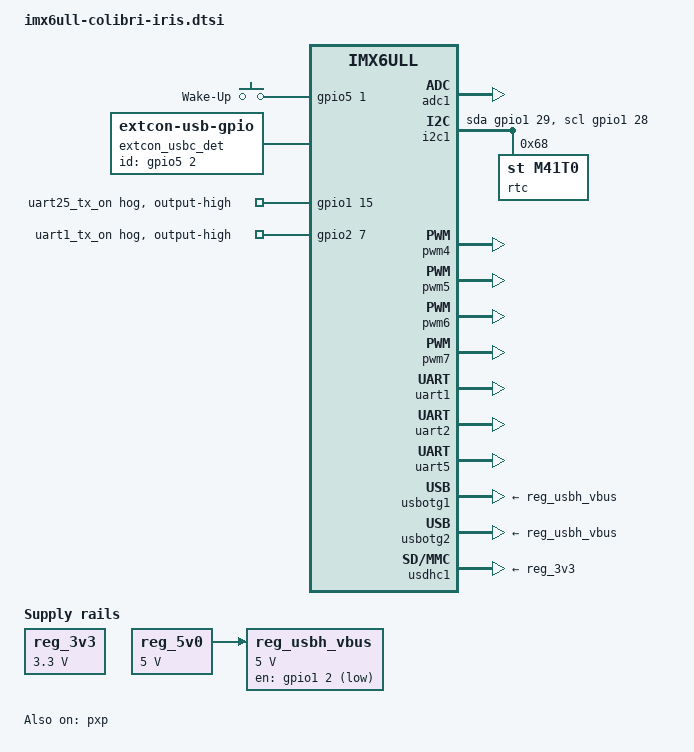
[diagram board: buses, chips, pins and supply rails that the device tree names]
// SPDX-License-Identifier: GPL-2.0+ OR X11
/*
 * Copyright 2018-2019 Toradex
 */

#include <dt-bindings/input/input.h>
#include <dt-bindings/pwm/pwm.h>

/ {
	chosen {
		bootargs = "console=ttymxc0,115200";
	};

	gpio-keys {
		compatible = "gpio-keys";
		pinctrl-names = "default";
		pinctrl-0 = <&pinctrl_snvs_gpiokeys>;

		power {
			label = "Wake-Up";
			gpios = <&gpio5 1 GPIO_ACTIVE_HIGH>;
			linux,code = <KEY_WAKEUP>;
			debounce-interval = <10>;
			gpio-key,wakeup;
		};
	};

	extcon_usbc_det: usbc_det {
		compatible = "linux,extcon-usb-gpio";
		debounce = <25>;
		id-gpio = <&gpio5 2 GPIO_ACTIVE_HIGH>;
		pinctrl-names = "default";
		pinctrl-0 = <&pinctrl_snvs_usbc_det>;
	};

	reg_3v3: regulator-3v3 {
		compatible = "regulator-fixed";
		regulator-name = "3.3V";
		regulator-min-microvolt = <3300000>;
		regulator-max-microvolt = <3300000>;
		regulator-always-on;
	};

	reg_5v0: regulator-5v0 {
		compatible = "regulator-fixed";
		regulator-name = "5V";
		regulator-min-microvolt = <5000000>;
		regulator-max-microvolt = <5000000>;
	};

	reg_usbh_vbus: regulator-usbh-vbus {
		compatible = "regulator-fixed";
		pinctrl-names = "default";
		pinctrl-0 = <&pinctrl_usbh_reg>;
		regulator-name = "VCC_USB[1-4]";
		regulator-min-microvolt = <5000000>;
		regulator-max-microvolt = <5000000>;
		gpio = <&gpio1 2 GPIO_ACTIVE_LOW>;
		vin-supply = <&reg_5v0>;
	};
};

&adc1 {
	status = "okay";
};

&pxp {
	status = "okay";
};

&i2c1 {
	pinctrl-names = "default", "gpio";
	pinctrl-0 = <&pinctrl_i2c1>;
	pinctrl-1 = <&pinctrl_i2c1_gpio>;
	sda-gpios = <&gpio1 29 (GPIO_ACTIVE_HIGH | GPIO_OPEN_DRAIN)>;
	scl-gpios = <&gpio1 28 (GPIO_ACTIVE_HIGH | GPIO_OPEN_DRAIN)>;
	status = "okay";

	/* M41T0M6 real time clock on carrier board */
	rtc: m41t0m6@68 {
		compatible = "st,m41t0";
		reg = <0x68>;
	};
};

/* Atmel TS adapter */
&atmel_mxt_ts {
	pinctrl-0 = <&pinctrl_atmel_adap>;
	interrupt-parent = <&gpio4>;
	interrupts = <16 IRQ_TYPE_EDGE_FALLING>;   /* SODIMM 28, INT */
	reset-gpios = <&gpio2 5 GPIO_ACTIVE_HIGH>; /* SODIMM 30, RST */
	status = "disabled";
};

/* PWM <A> */
&pwm4 {
	status = "okay";
};

/*
 * the PCAPs use SODIMM 28/30, also used for PWM<B>, PWM<C>, aka pwm5,
 * pwm6. so if you enable one of the PCAP controllers disable the pwms
 */

/* PWM <B> */
&pwm5 {
	status = "okay";
};

/* PWM <C> */
&pwm6 {
	status = "okay";
};

/* PWM <D> */
&pwm7 {
	status = "okay";
};

/* Colibri UART_A */
&uart1 {
	status = "okay";
};

/* Colibri UART_B */
&uart2 {
	status = "okay";
};

/* Colibri UART_C */
&uart5 {
	status = "okay";
};

&usbotg1 {
	extcon = <&extcon_usbc_det &extcon_usbc_det>;
	vbus-supply = <&reg_usbh_vbus>;
	status = "okay";
};

&usbotg2 {
	vbus-supply = <&reg_usbh_vbus>;
	status = "okay";
};

&usdhc1 {
	vmmc-supply = <&reg_3v3>;
	status = "okay";
};

&gpio1 {
	/*
	 * uart25_tx_on turns the UART transceiver on. If one wants to turn the
	 * transceiver off, that property has to be deleted and the gpio handled
	 * in userspace.
	 * The same applies to uart1_tx_on.
	 */
	uart25_tx_on {
		gpio-hog;
		gpios = <15 0>;
		output-high;
	};
};

&gpio2 {
	uart1_tx_on {
		gpio-hog;
		gpios = <7 0>;
		output-high;
	};
};

